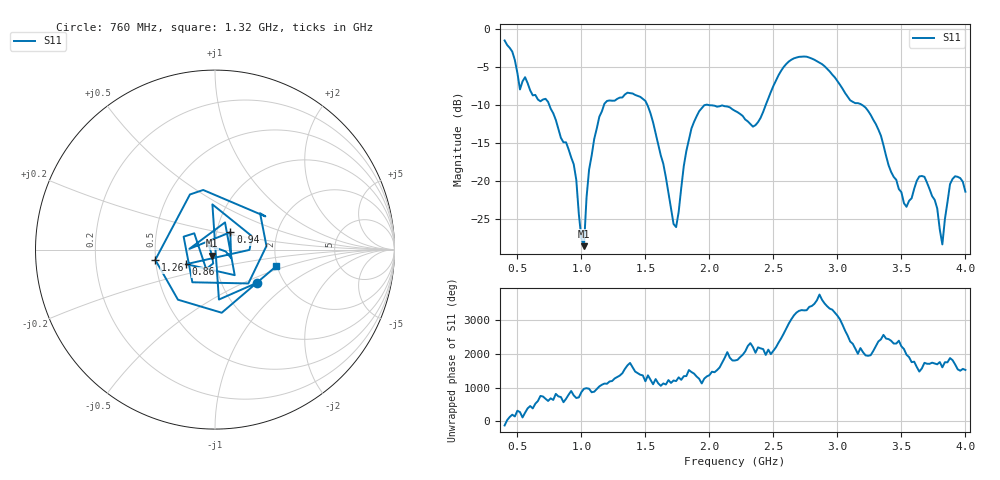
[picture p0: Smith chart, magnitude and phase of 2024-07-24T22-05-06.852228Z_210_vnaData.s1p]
!Created with skrf (http://scikit-rf.org).
# Hz S RI R 50.0
!freq ReS11 ImS11
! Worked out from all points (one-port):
!   181 points, 400 MHz to 4 GHz, reference 50 ohm
!   lowest |S11| = -28.6 dB at 1.02 GHz (marker M1), VSWR 1.08, Z = 48.3 - j3.26 ohm
!   |S11| at or under -10 dB: 1.515 GHz to 1.967 GHz (452 MHz wide, 26 % of centre); 1.992 GHz to 2.44 GHz (447.8 MHz wide, 20.2 % of centre); 3.193 GHz to end of sweep (the widest 3 of 4)
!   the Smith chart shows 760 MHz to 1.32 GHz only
!   S11 on the Smith chart (normalised r, x): 760 MHz: 1.47, -0.60; 860 MHz: 0.72, -0.12; 940 MHz: 1.16, +0.23; 1.26 GHz: 0.50, -0.06; 1.32 GHz: 1.98, -0.42
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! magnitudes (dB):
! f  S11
! 400 MHz  -1.5
! 520 MHz  -8.0
! 760 MHz  -10.5
! 860 MHz  -14.9
! 940 MHz  -17.8
! 1.02 GHz  -28.6
! 1.06 GHz  -18.5
! 1.1 GHz  -14.5
! 1.18 GHz  -9.8
! 1.26 GHz  -9.4
! 1.3 GHz  -9.0
! 1.32 GHz  -9.0
! 1.5 GHz  -9.5
! 1.72 GHz  -25.7
! 1.76 GHz  -24.1
! 1.82 GHz  -16.0
! 1.92 GHz  -10.8
! 2.2 GHz  -10.8
! 2.36 GHz  -12.7
! 2.66 GHz  -3.9
! 3.1 GHz  -9.4
! 3.26 GHz  -11.3
! 3.56 GHz  -22.6
! 3.68 GHz  -19.4
! 3.78 GHz  -23.6
! 3.82 GHz  -28.3
! 3.88 GHz  -20.4
! 4 GHz  -21.4
